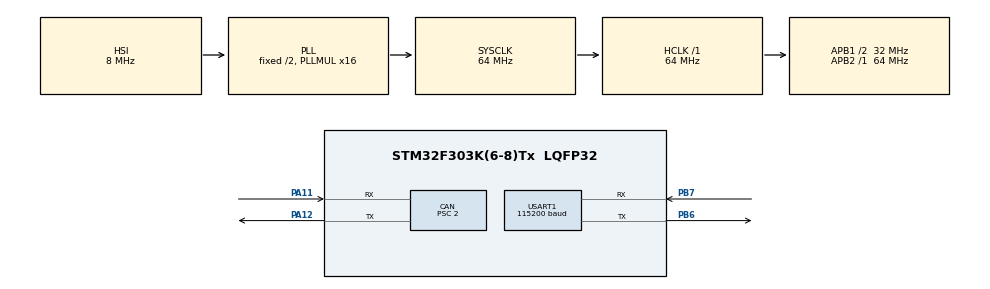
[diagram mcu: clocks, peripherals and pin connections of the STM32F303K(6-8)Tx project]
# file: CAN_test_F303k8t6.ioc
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CAN.BS1=CAN_BS1_13TQ
CAN.BS2=CAN_BS2_2TQ
CAN.CalculateBaudRate=1000000
CAN.CalculateTimeBit=1000
CAN.CalculateTimeQuantum=62.5
CAN.Prescaler=2
Mcu.Family=STM32F3
Mcu.Name=STM32F303K(6-8)Tx
Mcu.Package=LQFP32
NVIC.CAN_RX0_IRQn=true\:0\:0\:false\:false\:true\:true\:true\:true
NVIC.PriorityGroup=NVIC_PRIORITYGROUP_4
PA11.Mode=CAN_Activate
PA11.Signal=CAN_RX
PA12.Mode=CAN_Activate
PA12.Signal=CAN_TX
PA13.Mode=Serial_Wire
PA13.Signal=SYS_JTMS-SWDIO
PA14.Mode=Serial_Wire
PA14.Signal=SYS_JTCK-SWCLK
PB6.Mode=Asynchronous
PB6.Signal=USART1_TX
PB7.Mode=Asynchronous
PB7.Signal=USART1_RX
ProjectManager.HeapSize=0x200
ProjectManager.StackSize=0x400
ProjectManager.TargetToolchain=Makefile
RCC.AHBFreq_Value=64000000
RCC.APB1CLKDivider=RCC_HCLK_DIV2
RCC.APB1Freq_Value=32000000
RCC.APB1TimFreq_Value=64000000
RCC.APB2Freq_Value=64000000
RCC.APB2TimFreq_Value=64000000
RCC.CortexFreq_Value=64000000
RCC.HCLKFreq_Value=64000000
RCC.HSE_VALUE=8000000
RCC.HSI_VALUE=8000000
RCC.PLLMUL=RCC_PLL_MUL16
RCC.SYSCLKFreq_VALUE=64000000
RCC.SYSCLKSourceVirtual=RCC_SYSCLKSOURCE_PLLCLK
USART1.BaudRate=115200
USART1.VirtualMode-Asynchronous=VM_ASYNC
board=custom

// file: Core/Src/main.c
/* USER CODE BEGIN Header */
/**
 ******************************************************************************
 * @file           : main.c
 * @brief          : Main program body
 ******************************************************************************
 * @attention
 *
 * Copyright (c) 2024 STMicroelectronics.
 * All rights reserved.
 *
 * This software is licensed under terms that can be found in the LICENSE file
 * in the root directory of this software component.
 * If no LICENSE file comes with this software, it is provided AS-IS.
 *
 ******************************************************************************
 */
/* USER CODE END Header */
#include "main.h"
#include "can.h"
#include "usart.h"
#include "gpio.h"

/* USER CODE BEGIN Includes */
#include <stdbool.h>
/* USER CODE END Includes */

void SystemClock_Config(void);

/* USER CODE BEGIN 0 */
CAN_RxHeaderTypeDef RxHeader;
CAN_FilterTypeDef RxFilter;
CAN_TxHeaderTypeDef TxHeader;
uint32_t TxMailbox;
uint8_t RxData[8];
bool RxFlag = false;

void initCAN(uint8_t md_id_)
{
  // CANのフィルタ設定
  RxFilter.FilterIdHigh = 0;                    // フィルタのIDの上位16ビット
  RxFilter.FilterIdLow = 0;                     // フィルタのIDの下位16ビット
  RxFilter.FilterMaskIdHigh = 0;                // フィルタのマスクのIDの上位16ビット
  RxFilter.FilterMaskIdLow = 0;                 // フィルタのマスクのIDの下位16ビット
  RxFilter.FilterScale = CAN_FILTERSCALE_32BIT; // フィルタのスケール
  RxFilter.FilterBank = 0;                      // フィルタのバンク
  RxFilter.FilterMode = CAN_FILTERMODE_IDMASK;  // フィルタのモード
  RxFilter.SlaveStartFilterBank = 14;           // スレーブの開始フィルタバンク
  RxFilter.FilterActivation = ENABLE;           // フィルタの有効化
  // CAN通信のスタート
  HAL_CAN_Start(&hcan);                   // CANのスタート
  HAL_CAN_ConfigFilter(&hcan, &RxFilter); // CANのフィルタの設定
  // 割り込み有効
  HAL_CAN_ActivateNotification(&hcan, CAN_IT_RX_FIFO0_MSG_PENDING); // FIFO0のメッセージペンディング割り込みを有効
}

void sendPacket(uint16_t can_id, uint8_t *tx_buffer, uint8_t data_length)
{
  if (data_length > 8) // データ長が8より大きい場合
  {
    return;
  }
  if (0 < HAL_CAN_GetTxMailboxesFreeLevel(&hcan))
  {
    TxHeader.StdId = can_id;               // CANのID
    TxHeader.RTR = CAN_RTR_DATA;           // リモートフレーム
    TxHeader.IDE = CAN_ID_STD;             // 標準フレーム
    TxHeader.DLC = data_length;            // データ長
    TxHeader.TransmitGlobalTime = DISABLE; // グローバルタイム

    HAL_CAN_AddTxMessage(&hcan, &TxHeader, tx_buffer, &TxMailbox); // 送信
  }
  else
  {
    return;
  }
}
/* USER CODE END 0 */

int main(void)
{

  /* MCU Configuration--------------------------------------------------------*/

  /* Reset of all peripherals, Initializes the Flash interface and the Systick. */
  HAL_Init();

  /* Configure the system clock */
  SystemClock_Config();

  /* Initialize all configured peripherals */
  MX_GPIO_Init();
  MX_CAN_Init();
  MX_USART1_UART_Init();

  /* Infinite loop */
  while (1)
  {

  }
}

void SystemClock_Config(void)
{
  RCC_OscInitTypeDef RCC_OscInitStruct = {0};
  RCC_ClkInitTypeDef RCC_ClkInitStruct = {0};
  RCC_PeriphCLKInitTypeDef PeriphClkInit = {0};

  /** Initializes the RCC Oscillators according to the specified parameters
   * in the RCC_OscInitTypeDef structure.
   */
  RCC_OscInitStruct.OscillatorType = RCC_OSCILLATORTYPE_HSI;
  RCC_OscInitStruct.HSIState = RCC_HSI_ON;
  RCC_OscInitStruct.HSICalibrationValue = RCC_HSICALIBRATION_DEFAULT;
  RCC_OscInitStruct.PLL.PLLState = RCC_PLL_ON;
  RCC_OscInitStruct.PLL.PLLSource = RCC_PLLSOURCE_HSI;
  RCC_OscInitStruct.PLL.PLLMUL = RCC_PLL_MUL16;
  if (HAL_RCC_OscConfig(&RCC_OscInitStruct) != HAL_OK)
  {
    Error_Handler();
  }

  /** Initializes the CPU, AHB and APB buses clocks
   */
  RCC_ClkInitStruct.ClockType = RCC_CLOCKTYPE_HCLK | RCC_CLOCKTYPE_SYSCLK | RCC_CLOCKTYPE_PCLK1 | RCC_CLOCKTYPE_PCLK2;
  RCC_ClkInitStruct.SYSCLKSource = RCC_SYSCLKSOURCE_PLLCLK;
  RCC_ClkInitStruct.AHBCLKDivider = RCC_SYSCLK_DIV1;
  RCC_ClkInitStruct.APB1CLKDivider = RCC_HCLK_DIV2;
  RCC_ClkInitStruct.APB2CLKDivider = RCC_HCLK_DIV1;

  if (HAL_RCC_ClockConfig(&RCC_ClkInitStruct, FLASH_LATENCY_2) != HAL_OK)
  {
    Error_Handler();
  }
  PeriphClkInit.PeriphClockSelection = RCC_PERIPHCLK_USART1;
  PeriphClkInit.Usart1ClockSelection = RCC_USART1CLKSOURCE_PCLK1;
  if (HAL_RCCEx_PeriphCLKConfig(&PeriphClkInit) != HAL_OK)
  {
    Error_Handler();
  }
}

/* USER CODE BEGIN 4 */
void HAL_CAN_RxFifo0MsgPendingCallback(CAN_HandleTypeDef *hcan)
{
  if (HAL_CAN_GetRxMessage(hcan, CAN_RX_FIFO0, &RxHeader, RxData) == HAL_OK) // 正常に受信できた場合
  {
    // 受信処理
    char rx_data[RxHeader.DLC];
    for (uint8_t i = 0; i < RxHeader.DLC; i++)
    {
      rx_data[i] = RxData[i];
    }
    serial_printf("rx data : %c", rx_data);
    serial_printf("rx id : %d", RxHeader.StdId);
  }
}
/* USER CODE END 4 */

void Error_Handler(void)
{
  __disable_irq();
  while (1)
  {
  }
}
